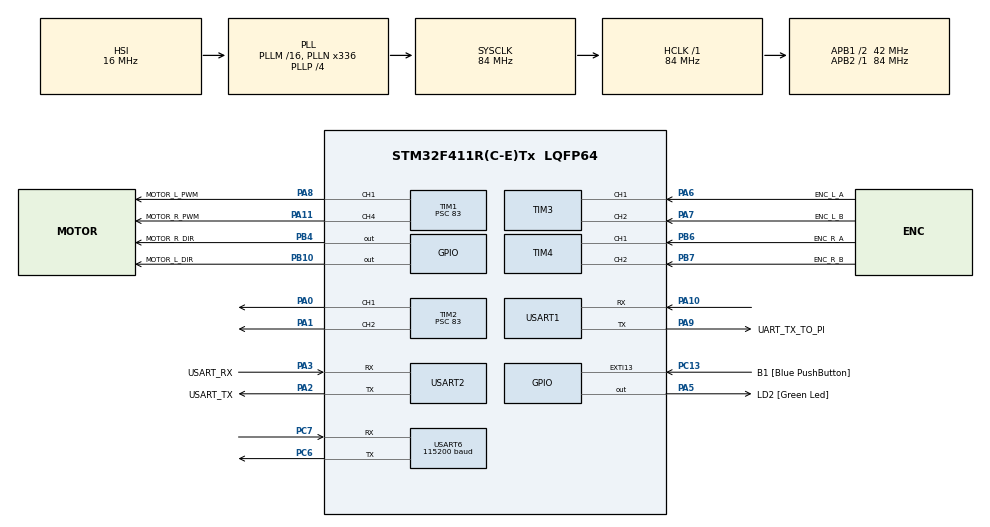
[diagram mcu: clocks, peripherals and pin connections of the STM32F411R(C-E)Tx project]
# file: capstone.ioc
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Mcu.Family=STM32F4
Mcu.Name=STM32F411R(C-E)Tx
Mcu.Package=LQFP64
NVIC.PriorityGroup=NVIC_PRIORITYGROUP_4
NVIC.TIM1_UP_TIM10_IRQn=true\:0\:0\:true\:false\:true\:true\:true\:true
NVIC.USART1_IRQn=true\:1\:0\:true\:false\:true\:true\:true\:true
NVIC.USART2_IRQn=true\:0\:0\:false\:false\:true\:true\:true\:true
NVIC.USART6_IRQn=true\:0\:0\:false\:false\:true\:true\:true\:true
PA0-WKUP.Signal=S_TIM2_CH1_ETR
PA1.Signal=S_TIM2_CH2
PA10.Mode=Asynchronous
PA10.Signal=USART1_RX
PA11.GPIO_Label=MOTOR_R_PWM
PA11.Signal=S_TIM1_CH4
PA13.GPIO_Label=TMS
PA13.Mode=Serial_Wire
PA13.Signal=SYS_JTMS-SWDIO
PA14.GPIO_Label=TCK
PA14.Mode=Serial_Wire
PA14.Signal=SYS_JTCK-SWCLK
PA2.GPIO_Label=USART_TX
PA2.Mode=Asynchronous
PA2.Signal=USART2_TX
PA3.GPIO_Label=USART_RX
PA3.Mode=Asynchronous
PA3.Signal=USART2_RX
PA5.GPIO_Label=LD2 [Green Led]
PA5.Signal=GPIO_Output
PA6.GPIO_Label=ENC_L_A
PA6.Signal=S_TIM3_CH1
PA7.GPIO_Label=ENC_L_B
PA7.Signal=S_TIM3_CH2
PA8.GPIO_Label=MOTOR_L_PWM
PA8.Signal=S_TIM1_CH1
PA9.GPIO_Label=UART_TX_TO_PI
PA9.Mode=Asynchronous
PA9.Signal=USART1_TX
PB10.GPIO_Label=MOTOR_L_DIR
PB10.Signal=GPIO_Output
PB3.GPIO_Label=SWO
PB3.Signal=SYS_JTDO-SWO
PB4.GPIO_Label=MOTOR_R_DIR
PB4.Signal=GPIO_Output
PB6.GPIO_Label=ENC_R_A
PB6.Signal=S_TIM4_CH1
PB7.GPIO_Label=ENC_R_B
PB7.Signal=S_TIM4_CH2
PC13-ANTI_TAMP.GPIO_Label=B1 [Blue PushButton]
PC13-ANTI_TAMP.GPIO_ModeDefaultEXTI=GPIO_MODE_IT_FALLING
PC13-ANTI_TAMP.Signal=GPXTI13
PC14-OSC32_IN.Mode=LSE-External-Oscillator
PC14-OSC32_IN.Signal=RCC_OSC32_IN
PC15-OSC32_OUT.Mode=LSE-External-Oscillator
PC15-OSC32_OUT.Signal=RCC_OSC32_OUT
PC6.Mode=Asynchronous
PC6.Signal=USART6_TX
PC7.Mode=Asynchronous
PC7.Signal=USART6_RX
PH0\ -\ OSC_IN.Mode=HSE-External-Clock-Source
PH0\ -\ OSC_IN.Signal=RCC_OSC_IN
PH1\ -\ OSC_OUT.Mode=HSE-External-Clock-Source
PH1\ -\ OSC_OUT.Signal=RCC_OSC_OUT
ProjectManager.HeapSize=0x200
ProjectManager.StackSize=0x400
ProjectManager.TargetToolchain=STM32CubeIDE
RCC.48MHZClocksFreq_Value=84000000
RCC.AHBFreq_Value=84000000
RCC.APB1CLKDivider=RCC_HCLK_DIV2
RCC.APB1Freq_Value=42000000
RCC.APB1TimFreq_Value=84000000
RCC.APB2Freq_Value=84000000
RCC.APB2TimFreq_Value=84000000
RCC.CortexFreq_Value=84000000
RCC.FLatency-AdvancedSettings=FLASH_LATENCY_2
RCC.HCLKFreq_Value=84000000
RCC.HSE_VALUE=8000000
RCC.HSI_VALUE=16000000
RCC.PLLN=336
RCC.PLLP=RCC_PLLP_DIV4
RCC.SYSCLKFreq_VALUE=84000000
RCC.SYSCLKSource=RCC_SYSCLKSOURCE_PLLCLK
RCC.VCOOutputFreq_Value=336000000
SH.S_TIM1_CH1.0=TIM1_CH1,PWM Generation1 CH1
SH.S_TIM1_CH4.0=TIM1_CH4,PWM Generation4 CH4
SH.S_TIM2_CH1_ETR.0=TIM2_CH1,PWM Generation1 CH1
SH.S_TIM2_CH2.0=TIM2_CH2,PWM Generation2 CH2
SH.S_TIM3_CH1.0=TIM3_CH1,Encoder_Interface
SH.S_TIM3_CH2.0=TIM3_CH2,Encoder_Interface
SH.S_TIM4_CH1.0=TIM4_CH1,Encoder_Interface
SH.S_TIM4_CH2.0=TIM4_CH2,Encoder_Interface
TIM1.Channel-PWM\ Generation1\ CH1=TIM_CHANNEL_1
TIM1.Channel-PWM\ Generation4\ CH4=TIM_CHANNEL_4
TIM1.Period=999
TIM1.Prescaler=83
TIM10.AutoReloadPreload=TIM_AUTORELOAD_PRELOAD_ENABLE
TIM10.Period=499
TIM10.Prescaler=8399
TIM2.AutoReloadPreload=TIM_AUTORELOAD_PRELOAD_DISABLE
TIM2.Channel-PWM\ Generation1\ CH1=TIM_CHANNEL_1
TIM2.Channel-PWM\ Generation2\ CH2=TIM_CHANNEL_2
TIM2.Period=19999
TIM2.Prescaler=83
TIM2.Pulse-PWM\ Generation1\ CH1=1000
TIM2.Pulse-PWM\ Generation2\ CH2=1000
TIM3.EncoderMode=TIM_ENCODERMODE_TI1
TIM4.EncoderMode=TIM_ENCODERMODE_TI1
USART1.VirtualMode=VM_ASYNC
USART2.VirtualMode=VM_ASYNC
USART6.BaudRate=115200
USART6.VirtualMode=VM_ASYNC
VP_TIM10_VS_ClockSourceINT.Mode=Enable_Timer
board=NUCLEO-F411RE

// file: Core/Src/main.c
/* USER CODE BEGIN Header */

/**

 ******************************************************************************

 * @file : main.c

 * @brief : Main program body

 ******************************************************************************

 * @attention

 *

 * Copyright (c) 2026 STMicroelectronics.

 * All rights reserved.

 *

 * This software is licensed under terms that can be found in the LICENSE file

 * in the root directory of this software component.

 * If no LICENSE file comes with this software, it is provided AS-IS.

 *

 ******************************************************************************

 */

/* USER CODE END Header */
#include "main.h"

/* USER CODE BEGIN Includes */

#include <stdio.h>

#include <string.h>

#include <stdlib.h>

#include <math.h>
#include <stdbool.h>

/* USER CODE END Includes */

/* USER CODE BEGIN PD */

#define ENCODER_PPR 11 // 모터 축 1회전당 펄스

#define GEAR_RATIO 30 // 감속비

#define QUADRATURE 2 // 2체배
//11*30*2*10바퀴=6600
#define COUNTS_PER_REV (ENCODER_PPR * GEAR_RATIO * QUADRATURE) // 1320

#define WHEEL_DIAMETER_MM 65.0f

#define WHEEL_CIRCUMFERENCE_MM (WHEEL_DIAMETER_MM * 3.14159f) // 204.2mm

#define SAMPLE_PERIOD_MS 50

#define cmd_timeout_us 500
#define CMD_OPEN 0x02
#define CMD_CLOSE 0x01

#define PWM_CLOSE 700
#define PWM_OPEN 1900

/* USER CODE END PD */

TIM_HandleTypeDef htim1;
TIM_HandleTypeDef htim2;
TIM_HandleTypeDef htim3;
TIM_HandleTypeDef htim4;
TIM_HandleTypeDef htim10;

UART_HandleTypeDef huart1;
UART_HandleTypeDef huart2;
UART_HandleTypeDef huart6;

/* USER CODE BEGIN PV */
volatile uint32_t tim10_cnt = 0;
volatile uint8_t rx_data; // 1바이트 수신용

volatile char rx_buf[20]; // 패킷 저장 버퍼
uint8_t rx_byte;
int rx_idx = 0; // 버퍼 인덱스

int error = 0;
volatile bool rx_ready = false;
volatile char tx_buf[32];
int32_t target_pwm_value_L = 0;

int32_t target_pwm_value_R = 0;

// 빌드 에러 해결을 위한 선언

volatile int cmd_complete = 0; // 패킷 수신 완료 플래그

volatile float target_rpm_L = 0.0; // 왼쪽 목표 속도 (에러 해결)

volatile float target_rpm_R = 0.0; // 오른쪽 목표 속도 (에러 해결)

int16_t cnt_now_L = 0;

int16_t cnt_prev_L = 0;

int16_t cnt_now_R = 0;

int16_t cnt_prev_R = 0;

int16_t delta_cnt_L = 0;

int16_t delta_cnt_R = 0;

float RPM_L = 0.0;

float RPM_R = 0.0;

//제어기 게인

float Kp = 2.2f, ki = 2.05f, kd = 0.0f;

float error_L = 0, error_L_prev = 0, error_L_sum = 0;

float error_R = 0, error_R_prev = 0, error_R_sum = 0;

float pid_output_L = 0, pid_output_R = 0;

volatile int16_t encoder_test = 0;
volatile float final_pwm_L = 0.0f;
volatile float final_pwm_R = 0.0f;
volatile uint32_t prev_time = 0;
volatile bool tx_ready = false;

volatile int PWM_lid = 550;
volatile bool lid_open = false;
volatile bool lid_close = false;
/* USER CODE END PV */

void SystemClock_Config(void);
static void MX_GPIO_Init(void);
static void MX_USART2_UART_Init(void);
static void MX_USART1_UART_Init(void);
static void MX_TIM3_Init(void);
static void MX_TIM1_Init(void);
static void MX_TIM2_Init(void);
static void MX_TIM4_Init(void);
static void MX_TIM10_Init(void);
static void MX_USART6_UART_Init(void);

/* USER CODE BEGIN 0 */

// 엔코더 카운터 읽기 (오버플로 처리 포함)
int32_t read_encoder(TIM_HandleTypeDef *htim)

{

	return (int16_t) __HAL_TIM_GET_COUNTER(htim);

}

/* USER CODE END 0 */

int main(void)
{

  /* MCU Configuration--------------------------------------------------------*/

  /* Reset of all peripherals, Initializes the Flash interface and the Systick. */
  HAL_Init();

  /* Configure the system clock */
  SystemClock_Config();

  /* Initialize all configured peripherals */
  MX_GPIO_Init();
  MX_USART2_UART_Init();
  MX_USART1_UART_Init();
  MX_TIM3_Init();
  MX_TIM1_Init();
  MX_TIM2_Init();
  MX_TIM4_Init();
  MX_TIM10_Init();
  MX_USART6_UART_Init();
  /* USER CODE BEGIN 2 */

	HAL_TIM_Encoder_Start(&htim3, TIM_CHANNEL_ALL); // Left

	HAL_TIM_Encoder_Start(&htim4, TIM_CHANNEL_ALL); // Right

	HAL_TIM_PWM_Start(&htim1, TIM_CHANNEL_1);

	HAL_TIM_PWM_Start(&htim1, TIM_CHANNEL_4);

// 카운터 초기화

	__HAL_TIM_SET_COUNTER(&htim3, 0);

	__HAL_TIM_SET_COUNTER(&htim4, 0);

	printf("\r\n===== Encoder Test Start =====\r\n");

	HAL_TIM_Base_Start_IT(&htim10);
	__HAL_UART_DISABLE_IT(&huart1, UART_IT_TXE);
	__HAL_UART_DISABLE_IT(&huart1, UART_IT_TC);
	HAL_UART_Receive_IT(&huart1, &rx_data, 1); // UART1 수신 인터럽트 시작 (1바이트씩)

	printf("UART1 Interrupt Started!\r\n");

	__HAL_TIM_SET_COMPARE(&htim2, TIM_CHANNEL_2, PWM_CLOSE);
	HAL_TIM_PWM_Start(&htim2, TIM_CHANNEL_2);
	HAL_UART_Receive_IT(&huart6, &rx_byte, 1);

  /* USER CODE END 2 */

  /* Infinite loop */
	while (1)
	{

    /* USER CODE BEGIN 3 */

// echo -e "M30.50,-25.30\n" > /dev/ttyS0
// cat /dev/ttyS0
//sprintf: 변수 -> 버퍼 (쓰기)
// sscanf: 버퍼 -> 변수 (읽기 + 쓰기)
		if (cmd_complete)

		{

//STM32가 파이로부터 받은 데이터 출력

			printf("Raw rx_buf: [%s]\r\n", rx_buf);

//제대로 데이터 받아왔는지 sscanf 반환값으로 체크

			int count = sscanf(rx_buf, "M%f,%f", &target_rpm_L, &target_rpm_R);

			if (count == 2)

			{

				printf(">>> SUCCESS! L:%.2f, R:%.2f\r\n", target_rpm_L,
						target_rpm_R);

				prev_time = HAL_GetTick();

			}

			else

			{

				printf(">>> [FAIL] Direct access failed! Count: %d\r\n", count);

			}

			cmd_complete = 0; //한바이트 데이터 출력 받았으니 다시 플레그변수0으로 초기화

		}
		if (tx_ready)
		{
			tx_ready = 0;
			if (huart1.gState == HAL_UART_STATE_READY)
			{
				HAL_UART_Transmit(&huart1, (uint8_t*) tx_buf, strlen(tx_buf),
						10);
				__HAL_UART_DISABLE_IT(&huart1, UART_IT_TXE);
				__HAL_UART_DISABLE_IT(&huart1, UART_IT_TC);
				__HAL_UART_CLEAR_FLAG(&huart1, UART_FLAG_TC);
			}
		}

	}

  /* USER CODE END 3 */
}

void SystemClock_Config(void)
{
  RCC_OscInitTypeDef RCC_OscInitStruct = {0};
  RCC_ClkInitTypeDef RCC_ClkInitStruct = {0};

  /** Configure the main internal regulator output voltage
  */
  __HAL_RCC_PWR_CLK_ENABLE();
  __HAL_PWR_VOLTAGESCALING_CONFIG(PWR_REGULATOR_VOLTAGE_SCALE1);

  /** Initializes the RCC Oscillators according to the specified parameters
  * in the RCC_OscInitTypeDef structure.
  */
  RCC_OscInitStruct.OscillatorType = RCC_OSCILLATORTYPE_HSI;
  RCC_OscInitStruct.HSIState = RCC_HSI_ON;
  RCC_OscInitStruct.HSICalibrationValue = RCC_HSICALIBRATION_DEFAULT;
  RCC_OscInitStruct.PLL.PLLState = RCC_PLL_ON;
  RCC_OscInitStruct.PLL.PLLSource = RCC_PLLSOURCE_HSI;
  RCC_OscInitStruct.PLL.PLLM = 16;
  RCC_OscInitStruct.PLL.PLLN = 336;
  RCC_OscInitStruct.PLL.PLLP = RCC_PLLP_DIV4;
  RCC_OscInitStruct.PLL.PLLQ = 4;
  if (HAL_RCC_OscConfig(&RCC_OscInitStruct) != HAL_OK)
  {
    Error_Handler();
  }

  /** Initializes the CPU, AHB and APB buses clocks
  */
  RCC_ClkInitStruct.ClockType = RCC_CLOCKTYPE_HCLK|RCC_CLOCKTYPE_SYSCLK
                              |RCC_CLOCKTYPE_PCLK1|RCC_CLOCKTYPE_PCLK2;
  RCC_ClkInitStruct.SYSCLKSource = RCC_SYSCLKSOURCE_PLLCLK;
  RCC_ClkInitStruct.AHBCLKDivider = RCC_SYSCLK_DIV1;
  RCC_ClkInitStruct.APB1CLKDivider = RCC_HCLK_DIV2;
  RCC_ClkInitStruct.APB2CLKDivider = RCC_HCLK_DIV1;

  if (HAL_RCC_ClockConfig(&RCC_ClkInitStruct, FLASH_LATENCY_2) != HAL_OK)
  {
    Error_Handler();
  }
}

static void MX_TIM1_Init(void)
{

  TIM_MasterConfigTypeDef sMasterConfig = {0};
  TIM_OC_InitTypeDef sConfigOC = {0};
  TIM_BreakDeadTimeConfigTypeDef sBreakDeadTimeConfig = {0};

  htim1.Instance = TIM1;
  htim1.Init.Prescaler = 83;
  htim1.Init.CounterMode = TIM_COUNTERMODE_UP;
  htim1.Init.Period = 999;
  htim1.Init.ClockDivision = TIM_CLOCKDIVISION_DIV1;
  htim1.Init.RepetitionCounter = 0;
  htim1.Init.AutoReloadPreload = TIM_AUTORELOAD_PRELOAD_DISABLE;
  if (HAL_TIM_PWM_Init(&htim1) != HAL_OK)
  {
    Error_Handler();
  }
  sMasterConfig.MasterOutputTrigger = TIM_TRGO_RESET;
  sMasterConfig.MasterSlaveMode = TIM_MASTERSLAVEMODE_DISABLE;
  if (HAL_TIMEx_MasterConfigSynchronization(&htim1, &sMasterConfig) != HAL_OK)
  {
    Error_Handler();
  }
  sConfigOC.OCMode = TIM_OCMODE_PWM1;
  sConfigOC.Pulse = 0;
  sConfigOC.OCPolarity = TIM_OCPOLARITY_HIGH;
  sConfigOC.OCNPolarity = TIM_OCNPOLARITY_HIGH;
  sConfigOC.OCFastMode = TIM_OCFAST_DISABLE;
  sConfigOC.OCIdleState = TIM_OCIDLESTATE_RESET;
  sConfigOC.OCNIdleState = TIM_OCNIDLESTATE_RESET;
  if (HAL_TIM_PWM_ConfigChannel(&htim1, &sConfigOC, TIM_CHANNEL_1) != HAL_OK)
  {
    Error_Handler();
  }
  if (HAL_TIM_PWM_ConfigChannel(&htim1, &sConfigOC, TIM_CHANNEL_4) != HAL_OK)
  {
    Error_Handler();
  }
  sBreakDeadTimeConfig.OffStateRunMode = TIM_OSSR_DISABLE;
  sBreakDeadTimeConfig.OffStateIDLEMode = TIM_OSSI_DISABLE;
  sBreakDeadTimeConfig.LockLevel = TIM_LOCKLEVEL_OFF;
  sBreakDeadTimeConfig.DeadTime = 0;
  sBreakDeadTimeConfig.BreakState = TIM_BREAK_DISABLE;
  sBreakDeadTimeConfig.BreakPolarity = TIM_BREAKPOLARITY_HIGH;
  sBreakDeadTimeConfig.AutomaticOutput = TIM_AUTOMATICOUTPUT_DISABLE;
  if (HAL_TIMEx_ConfigBreakDeadTime(&htim1, &sBreakDeadTimeConfig) != HAL_OK)
  {
    Error_Handler();
  }
  HAL_TIM_MspPostInit(&htim1);

}

static void MX_TIM2_Init(void)
{

  TIM_MasterConfigTypeDef sMasterConfig = {0};
  TIM_OC_InitTypeDef sConfigOC = {0};

  htim2.Instance = TIM2;
  htim2.Init.Prescaler = 83;
  htim2.Init.CounterMode = TIM_COUNTERMODE_UP;
  htim2.Init.Period = 19999;
  htim2.Init.ClockDivision = TIM_CLOCKDIVISION_DIV1;
  htim2.Init.AutoReloadPreload = TIM_AUTORELOAD_PRELOAD_DISABLE;
  if (HAL_TIM_PWM_Init(&htim2) != HAL_OK)
  {
    Error_Handler();
  }
  sMasterConfig.MasterOutputTrigger = TIM_TRGO_RESET;
  sMasterConfig.MasterSlaveMode = TIM_MASTERSLAVEMODE_DISABLE;
  if (HAL_TIMEx_MasterConfigSynchronization(&htim2, &sMasterConfig) != HAL_OK)
  {
    Error_Handler();
  }
  sConfigOC.OCMode = TIM_OCMODE_PWM1;
  sConfigOC.Pulse = 1000;
  sConfigOC.OCPolarity = TIM_OCPOLARITY_HIGH;
  sConfigOC.OCFastMode = TIM_OCFAST_DISABLE;
  if (HAL_TIM_PWM_ConfigChannel(&htim2, &sConfigOC, TIM_CHANNEL_1) != HAL_OK)
  {
    Error_Handler();
  }
  if (HAL_TIM_PWM_ConfigChannel(&htim2, &sConfigOC, TIM_CHANNEL_2) != HAL_OK)
  {
    Error_Handler();
  }
  HAL_TIM_MspPostInit(&htim2);

}

static void MX_TIM3_Init(void)
{

  TIM_Encoder_InitTypeDef sConfig = {0};
  TIM_MasterConfigTypeDef sMasterConfig = {0};

  htim3.Instance = TIM3;
  htim3.Init.Prescaler = 0;
  htim3.Init.CounterMode = TIM_COUNTERMODE_UP;
  htim3.Init.Period = 65535;
  htim3.Init.ClockDivision = TIM_CLOCKDIVISION_DIV1;
  htim3.Init.AutoReloadPreload = TIM_AUTORELOAD_PRELOAD_DISABLE;
  sConfig.EncoderMode = TIM_ENCODERMODE_TI1;
  sConfig.IC1Polarity = TIM_ICPOLARITY_RISING;
  sConfig.IC1Selection = TIM_ICSELECTION_DIRECTTI;
  sConfig.IC1Prescaler = TIM_ICPSC_DIV1;
  sConfig.IC1Filter = 0;
  sConfig.IC2Polarity = TIM_ICPOLARITY_RISING;
  sConfig.IC2Selection = TIM_ICSELECTION_DIRECTTI;
  sConfig.IC2Prescaler = TIM_ICPSC_DIV1;
  sConfig.IC2Filter = 0;
  if (HAL_TIM_Encoder_Init(&htim3, &sConfig) != HAL_OK)
  {
    Error_Handler();
  }
  sMasterConfig.MasterOutputTrigger = TIM_TRGO_RESET;
  sMasterConfig.MasterSlaveMode = TIM_MASTERSLAVEMODE_DISABLE;
  if (HAL_TIMEx_MasterConfigSynchronization(&htim3, &sMasterConfig) != HAL_OK)
  {
    Error_Handler();
  }

}

static void MX_TIM4_Init(void)
{

  TIM_Encoder_InitTypeDef sConfig = {0};
  TIM_MasterConfigTypeDef sMasterConfig = {0};

  htim4.Instance = TIM4;
  htim4.Init.Prescaler = 0;
  htim4.Init.CounterMode = TIM_COUNTERMODE_UP;
  htim4.Init.Period = 65535;
  htim4.Init.ClockDivision = TIM_CLOCKDIVISION_DIV1;
  htim4.Init.AutoReloadPreload = TIM_AUTORELOAD_PRELOAD_DISABLE;
  sConfig.EncoderMode = TIM_ENCODERMODE_TI1;
  sConfig.IC1Polarity = TIM_ICPOLARITY_RISING;
  sConfig.IC1Selection = TIM_ICSELECTION_DIRECTTI;
  sConfig.IC1Prescaler = TIM_ICPSC_DIV1;
  sConfig.IC1Filter = 0;
  sConfig.IC2Polarity = TIM_ICPOLARITY_RISING;
  sConfig.IC2Selection = TIM_ICSELECTION_DIRECTTI;
  sConfig.IC2Prescaler = TIM_ICPSC_DIV1;
  sConfig.IC2Filter = 0;
  if (HAL_TIM_Encoder_Init(&htim4, &sConfig) != HAL_OK)
  {
    Error_Handler();
  }
  sMasterConfig.MasterOutputTrigger = TIM_TRGO_RESET;
  sMasterConfig.MasterSlaveMode = TIM_MASTERSLAVEMODE_DISABLE;
  if (HAL_TIMEx_MasterConfigSynchronization(&htim4, &sMasterConfig) != HAL_OK)
  {
    Error_Handler();
  }

}

static void MX_TIM10_Init(void)
{

  htim10.Instance = TIM10;
  htim10.Init.Prescaler = 8399;
  htim10.Init.CounterMode = TIM_COUNTERMODE_UP;
  htim10.Init.Period = 499;
  htim10.Init.ClockDivision = TIM_CLOCKDIVISION_DIV1;
  htim10.Init.AutoReloadPreload = TIM_AUTORELOAD_PRELOAD_ENABLE;
  if (HAL_TIM_Base_Init(&htim10) != HAL_OK)
  {
    Error_Handler();
  }

}

static void MX_USART1_UART_Init(void)
{

  huart1.Instance = USART1;
  huart1.Init.BaudRate = 115200;
  huart1.Init.WordLength = UART_WORDLENGTH_8B;
  huart1.Init.StopBits = UART_STOPBITS_1;
  huart1.Init.Parity = UART_PARITY_NONE;
  huart1.Init.Mode = UART_MODE_TX_RX;
  huart1.Init.HwFlowCtl = UART_HWCONTROL_NONE;
  huart1.Init.OverSampling = UART_OVERSAMPLING_16;
  if (HAL_UART_Init(&huart1) != HAL_OK)
  {
    Error_Handler();
  }

}

static void MX_USART2_UART_Init(void)
{

  huart2.Instance = USART2;
  huart2.Init.BaudRate = 115200;
  huart2.Init.WordLength = UART_WORDLENGTH_8B;
  huart2.Init.StopBits = UART_STOPBITS_1;
  huart2.Init.Parity = UART_PARITY_NONE;
  huart2.Init.Mode = UART_MODE_TX_RX;
  huart2.Init.HwFlowCtl = UART_HWCONTROL_NONE;
  huart2.Init.OverSampling = UART_OVERSAMPLING_16;
  if (HAL_UART_Init(&huart2) != HAL_OK)
  {
    Error_Handler();
  }

}

static void MX_USART6_UART_Init(void)
{

  huart6.Instance = USART6;
  huart6.Init.BaudRate = 115200;
  huart6.Init.WordLength = UART_WORDLENGTH_8B;
  huart6.Init.StopBits = UART_STOPBITS_1;
  huart6.Init.Parity = UART_PARITY_NONE;
  huart6.Init.Mode = UART_MODE_TX_RX;
  huart6.Init.HwFlowCtl = UART_HWCONTROL_NONE;
  huart6.Init.OverSampling = UART_OVERSAMPLING_16;
  if (HAL_UART_Init(&huart6) != HAL_OK)
  {
    Error_Handler();
  }

}

static void MX_GPIO_Init(void)
{
  GPIO_InitTypeDef GPIO_InitStruct = {0};

  /* GPIO Ports Clock Enable */
  __HAL_RCC_GPIOC_CLK_ENABLE();
  __HAL_RCC_GPIOH_CLK_ENABLE();
  __HAL_RCC_GPIOA_CLK_ENABLE();
  __HAL_RCC_GPIOB_CLK_ENABLE();

  /*Configure GPIO pin Output Level */
  HAL_GPIO_WritePin(LD2_GPIO_Port, LD2_Pin, GPIO_PIN_RESET);

  /*Configure GPIO pin Output Level */
  HAL_GPIO_WritePin(GPIOB, MOTOR_L_DIR_Pin|MOTOR_R_DIR_Pin, GPIO_PIN_RESET);

  /*Configure GPIO pin : B1_Pin */
  GPIO_InitStruct.Pin = B1_Pin;
  GPIO_InitStruct.Mode = GPIO_MODE_IT_FALLING;
  GPIO_InitStruct.Pull = GPIO_NOPULL;
  HAL_GPIO_Init(B1_GPIO_Port, &GPIO_InitStruct);

  /*Configure GPIO pin : LD2_Pin */
  GPIO_InitStruct.Pin = LD2_Pin;
  GPIO_InitStruct.Mode = GPIO_MODE_OUTPUT_PP;
  GPIO_InitStruct.Pull = GPIO_NOPULL;
  GPIO_InitStruct.Speed = GPIO_SPEED_FREQ_LOW;
  HAL_GPIO_Init(LD2_GPIO_Port, &GPIO_InitStruct);

  /*Configure GPIO pins : MOTOR_L_DIR_Pin MOTOR_R_DIR_Pin */
  GPIO_InitStruct.Pin = MOTOR_L_DIR_Pin|MOTOR_R_DIR_Pin;
  GPIO_InitStruct.Mode = GPIO_MODE_OUTPUT_PP;
  GPIO_InitStruct.Pull = GPIO_NOPULL;
  GPIO_InitStruct.Speed = GPIO_SPEED_FREQ_LOW;
  HAL_GPIO_Init(GPIOB, &GPIO_InitStruct);

}

/* USER CODE BEGIN 4 */
int __io_putchar(int ch)
{
	HAL_UART_Transmit(&huart2, (uint8_t*) &ch, 1, HAL_MAX_DELAY);
	return ch;
}
void HAL_UART_ErrorCallback(UART_HandleTypeDef *huart)
{
	printf("stm32 error call back 진입 직후\r\n");
	printf("SR: %lu\r\n", USART1->SR);
	if (huart->Instance == USART1)
	{
		__HAL_UART_DISABLE_IT(huart, UART_IT_TXE);
		__HAL_UART_DISABLE_IT(huart, UART_IT_TC);
		__HAL_UART_CLEAR_FLAG(huart, UART_FLAG_TC);
		__HAL_UART_CLEAR_OREFLAG(huart);
		__HAL_UART_CLEAR_NEFLAG(huart);
		__HAL_UART_CLEAR_FEFLAG(huart);
		huart->RxState = HAL_UART_STATE_READY;
		huart->gState = HAL_UART_STATE_READY;
		huart->ErrorCode = HAL_UART_ERROR_NONE;
		HAL_UART_Receive_IT(huart, &rx_data, 1);
	}

}

void HAL_TIM_PeriodElapsedCallback(TIM_HandleTypeDef *htim)

{

//ENCL A/B:PA67

//ENCR A/B:PB67

	if (htim->Instance == TIM10) //TIM10이 불렀다면=> tim10은 0.05(50ms)초마다 콜백이 불림. 시계 역할.
//millis-prev>=500
	{
		tim10_cnt++;
		if (lid_open)
		{

			if (PWM_lid < PWM_OPEN)
			{
				__HAL_TIM_SET_COMPARE(&htim2, TIM_CHANNEL_2, PWM_lid);
				PWM_lid += 25;
			}
			if (PWM_lid >= PWM_OPEN)
			{
				lid_open = false;

			}
		}

      if(lid_close)
      {

           if(PWM_lid>PWM_CLOSE)
           {
             __HAL_TIM_SET_COMPARE(&htim2, TIM_CHANNEL_2, PWM_lid);
             PWM_lid -=25;
           }

           if(PWM_lid <= PWM_CLOSE)
           {
        	 lid_close=false;
           }
      }

		//printf("타이머10 50ms콜백 진입직후\r\n");
		if (HAL_GetTick() - prev_time >= cmd_timeout_us)
		{
			target_rpm_L = 0.0;
			target_rpm_R = 0.0;
		}
		cnt_now_L = -read_encoder(&htim3);

		cnt_now_R = -read_encoder(&htim4);

		delta_cnt_L = (int16_t) (cnt_now_L - cnt_prev_L);

		delta_cnt_R = -(int16_t) (cnt_now_R - cnt_prev_R);

		RPM_L = ((float) delta_cnt_L / COUNTS_PER_REV)
				* (60000.0f / SAMPLE_PERIOD_MS);

		RPM_R = ((float) delta_cnt_R / COUNTS_PER_REV)
				* (60000.0f / SAMPLE_PERIOD_MS);

		/*------------엔코더 읽기&&피드백RPM 계산(UART)-------------------*/

		error_L = (target_rpm_L) - (RPM_L);

		error_R = (target_rpm_R) - (RPM_R);

// I항 누적

		error_L_sum += error_L;

		error_R_sum += error_R;

		if (error_L_sum > 2000)
			error_L_sum = 2000;

		if (error_L_sum < -2000)
			error_L_sum = -2000;

		if (error_R_sum > 2000)
			error_R_sum = 2000;

		if (error_R_sum < -2000)
			error_R_sum = -2000;
		if (fabs(target_rpm_L) < 0.1f)
		{ // 목표 속도가 0이면
			error_L_sum = 0;             // 누적 오차 초기화
			error_L_prev = 0;
			pid_output_L = 0;
			final_pwm_L = 0;             // 출력 완전 차단
		}
		else
		{
			pid_output_L = (Kp * error_L) + (ki * error_L_sum * 0.05f)
					+ (kd * (error_L - error_L_prev) / 0.05f);
			final_pwm_L = (((target_rpm_L) / 333.0f) * 999.0f) + pid_output_L;
		}

		//오른쪽 모터 제어
		if (fabs(target_rpm_R) < 0.1f)
		{
			error_R_sum = 0;
			error_R_prev = 0;
			pid_output_R = 0;
			final_pwm_R = 0;
		}
		else
		{
			pid_output_R = (Kp * error_R) + (ki * error_R_sum * 0.05f)
					+ (kd * (error_R - error_R_prev) / 0.05f);
			final_pwm_R = (((target_rpm_R) / 333.0f) * 999.0f) + pid_output_R;
		}
		HAL_GPIO_WritePin(GPIOB, MOTOR_L_DIR_Pin,
				(final_pwm_L >= 0) ? GPIO_PIN_SET : GPIO_PIN_RESET);

// 3.3V->정방향(SET) 0V->역방향(RESET)

		HAL_GPIO_WritePin(GPIOB, MOTOR_R_DIR_Pin,
				(final_pwm_R >= 0) ? GPIO_PIN_RESET : GPIO_PIN_SET);

//rpm -> pwm 변환: 최대 rpm 333, 최대 pwm값 999 => 비율을 구한다음에 999에 곱해서

//흐르는 전류값(모터속도 제어)

		final_pwm_L = fabs(final_pwm_L);
		final_pwm_R = fabs(final_pwm_R);
		if (final_pwm_L > 999)
			final_pwm_L = 999;

		if (final_pwm_R > 999)
			final_pwm_R = 999;

		target_pwm_value_L = (uint32_t) final_pwm_L;

		target_pwm_value_R = (uint32_t) final_pwm_R;

		if (target_pwm_value_L > 999)
			target_pwm_value_L = 999;

		if (target_pwm_value_R > 999)
			target_pwm_value_R = 999;

		__HAL_TIM_SET_COMPARE(&htim1, TIM_CHANNEL_1, target_pwm_value_L);

		__HAL_TIM_SET_COMPARE(&htim1, TIM_CHANNEL_4, target_pwm_value_R);

//방향 핀에 값 인가

		sprintf(tx_buf, "F%.2f,%.2f,%lu\n", RPM_L, RPM_R, tim10_cnt);
		tx_ready = true;
		error_L_prev = error_L;

		error_R_prev = error_R;

		cnt_prev_L = cnt_now_L;

		cnt_prev_R = cnt_now_R;
	}

}

void HAL_UART_RxCpltCallback(UART_HandleTypeDef *huart)

{
//printf("rx콜백함수 진입직후\r\n");
	if (huart->Instance == USART1)

	{

		if (rx_data == '\n' || rx_data == '\r')

		{

			if (rx_idx > 0)
			{

				rx_buf[rx_idx] = '\0';

				cmd_complete = 1;

				rx_idx = 0;

			}

		}

		else
		{

			if (rx_idx < 19)

			{

				rx_buf[rx_idx++] = (char) rx_data;

			}

		}

		HAL_UART_Receive_IT(huart, &rx_data, 1);

	}
	if (huart->Instance == USART6)
	{
		HAL_GPIO_TogglePin(GPIOA, GPIO_PIN_5);   // <- LD2 토글 (진단용)
		if (rx_byte == CMD_OPEN)
		{
			lid_open = true;
			lid_close = false;
			//__HAL_TIM_SET_COMPARE(&htim2, TIM_CHANNEL_2, PWM_OPEN);

		}
		else if (rx_byte == CMD_CLOSE)
		{
			lid_open = false;
			lid_close = true;
			//__HAL_TIM_SET_COMPARE(&htim2, TIM_CHANNEL_2, PWM_CLOSE);
		}
		HAL_UART_Receive_IT(&huart6, &rx_byte, 1);
	}

}

/* USER CODE END 4 */

void Error_Handler(void)
{
	__disable_irq();
	while (1)
	{
	}
}
